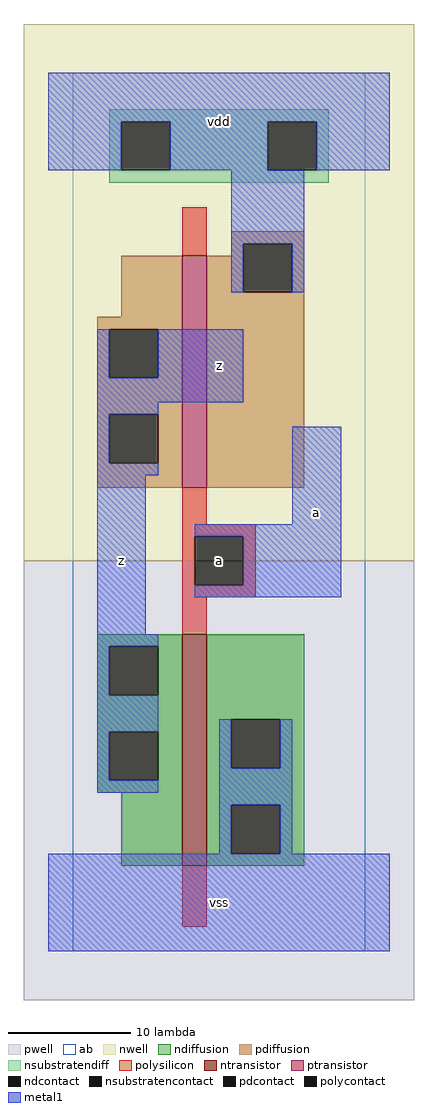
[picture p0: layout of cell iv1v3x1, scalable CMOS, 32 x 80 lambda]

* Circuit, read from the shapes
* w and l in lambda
.subckt iv1v3x1 a vdd vss z
M1 vss a z VSUBS nfet w=19 l=2
M2 vdd a z vdd pfet w=19 l=2
.ends

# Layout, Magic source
magic
tech scmos
<< ab >>
rect 0 0 24 72
<< pwell >>
rect -4 -4 28 32
<< nwell >>
rect -4 32 28 76
<< polysilicon >>
rect 9 57 11 61
rect 9 35 11 38
rect 9 34 15 35
rect 9 30 10 34
rect 14 30 15 34
rect 9 29 15 30
rect 9 26 11 29
rect 9 2 11 7
<< ndiffusion >>
rect 2 25 9 26
rect 2 21 3 25
rect 7 21 9 25
rect 2 18 9 21
rect 2 14 3 18
rect 7 14 9 18
rect 2 13 9 14
rect 4 7 9 13
rect 11 19 19 26
rect 11 15 13 19
rect 17 15 19 19
rect 11 12 19 15
rect 11 8 13 12
rect 17 8 19 12
rect 11 7 19 8
<< pdiffusion >>
rect 13 58 19 59
rect 13 57 14 58
rect 4 52 9 57
rect 2 51 9 52
rect 2 47 3 51
rect 7 47 9 51
rect 2 44 9 47
rect 2 40 3 44
rect 7 40 9 44
rect 2 38 9 40
rect 11 54 14 57
rect 18 54 19 58
rect 11 38 19 54
<< metal1 >>
rect -2 68 26 72
rect -2 64 4 68
rect 8 64 16 68
rect 20 64 26 68
rect 13 58 19 64
rect 13 54 14 58
rect 18 54 19 58
rect 2 47 3 51
rect 7 47 14 51
rect 2 45 14 47
rect 2 44 7 45
rect 2 40 3 44
rect 2 39 7 40
rect 2 26 6 39
rect 18 35 22 43
rect 10 34 22 35
rect 14 30 22 34
rect 10 29 22 30
rect 2 25 7 26
rect 2 21 3 25
rect 2 18 7 21
rect 2 14 3 18
rect 2 13 7 14
rect 12 15 13 19
rect 17 15 18 19
rect 12 12 18 15
rect 12 8 13 12
rect 17 8 18 12
rect -2 0 26 8
<< ntransistor >>
rect 9 7 11 26
<< ptransistor >>
rect 9 38 11 57
<< polycontact >>
rect 10 30 14 34
<< ndcontact >>
rect 3 21 7 25
rect 3 14 7 18
rect 13 15 17 19
rect 13 8 17 12
<< pdcontact >>
rect 3 47 7 51
rect 3 40 7 44
rect 14 54 18 58
<< nsubstratencontact >>
rect 4 64 8 68
rect 16 64 20 68
<< nsubstratendiff >>
rect 3 68 21 69
rect 3 64 4 68
rect 8 64 16 68
rect 20 64 21 68
rect 3 63 21 64
<< labels >>
rlabel metal1 4 32 4 32 6 z
rlabel metal1 12 4 12 4 6 vss
rlabel polycontact 12 32 12 32 6 a
rlabel metal1 12 48 12 48 6 z
rlabel metal1 12 68 12 68 6 vdd
rlabel metal1 20 36 20 36 6 a
<< end >>
